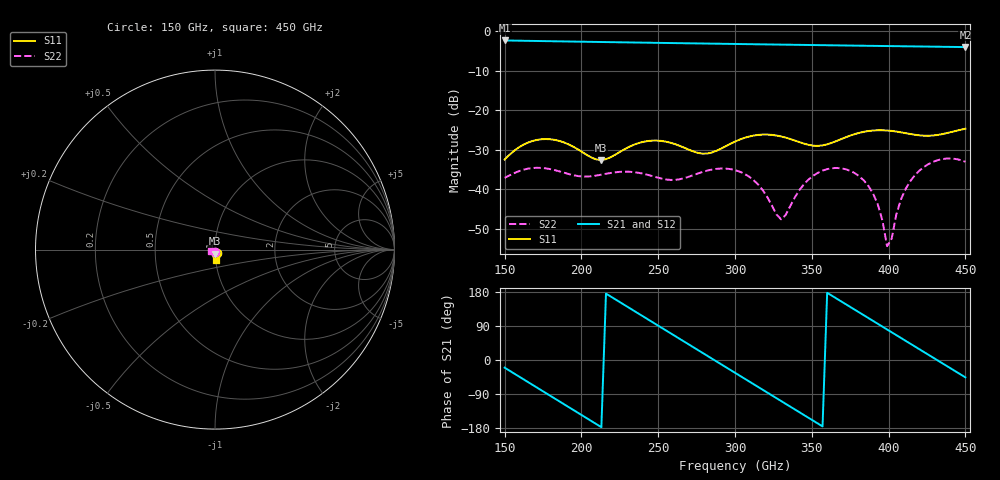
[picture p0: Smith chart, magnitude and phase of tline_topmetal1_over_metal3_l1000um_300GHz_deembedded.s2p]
! Created with skrf 2.0.1 (http://scikit-rf.org).
# GHz S DB R 50.0
!freq dBS11 angS11 dBS21 angS21 dBS12 angS12 dBS22 angS22
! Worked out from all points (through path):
!   101 points, 150 GHz to 450 GHz, reference 50 ohm
!   highest |S21| = -2.29 dB at 150 GHz (marker M1); lowest = -4.0 dB at 450 GHz (marker M2)
!   group delay of S21, straight-line fit = 6.9 ps
!   lowest |S11| = -32.6 dB at 213 GHz (marker M3), VSWR 1.05, Z = 49.9 - j2.35 ohm
!   |S11| at or under -10 dB: start of sweep to end of sweep
!   |S22| runs from -54.4 to -32.2 dB; largest |S21 - S12| = 8.5e-14
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150  -32.45 -63.3  -2.29 -20.2  -2.29 -20.2  -37.08 -79.7
165  -28.18 -71.5  -2.39 -57.6  -2.39 -57.6  -34.77 -82.1
177  -27.26 -87.8  -2.46 -87.6  -2.46 -87.6  -34.70 -92.4
201  -30.67 -107.4  -2.61 -147.4  -2.61 -147.4  -36.75 -95.4
213  -32.57 -90.9  -2.68 -177.3  -2.68 -177.3  -36.28 -92.1
234  -28.73 -78.0  -2.81 130.4  -2.81 130.4  -35.63 -103.4
252  -27.73 -93.9  -2.91 85.6  -2.91 85.6  -37.25 -108.8
264  -28.98 -101.0  -2.98 55.8  -2.98 55.8  -37.44 -102.0
279  -30.96 -90.6  -3.06 18.5  -3.06 18.5  -35.58 -103.9
300  -27.90 -75.0  -3.18 -33.7  -3.18 -33.7  -35.12 -131.8
315  -26.22 -85.3  -3.26 -71.0  -3.26 -71.0  -38.76 -153.8
330  -26.60 -97.1  -3.34 -108.2  -3.34 -108.2  -47.59 -119.1
351  -28.94 -92.4  -3.45 -160.3  -3.45 -160.3  -36.53 -93.0
366  -27.77 -78.5  -3.53 162.4  -3.53 162.4  -34.58 -125.1
381  -25.68 -80.6  -3.61 125.2  -3.61 125.2  -36.71 -162.6
393  -25.03 -88.1  -3.68 95.5  -3.68 95.5  -43.84 159.3
399  -25.09 -91.7  -3.71 80.6  -3.71 80.6  -54.39 100.5
402  -25.20 -93.2  -3.72 73.2  -3.72 73.2  -52.49 14.3
408  -25.55 -95.1  -3.75 58.3  -3.75 58.3  -42.59 -31.5
417  -26.17 -94.6  -3.80 36.0  -3.80 36.0  -36.47 -61.1
432  -26.21 -87.2  -3.87 -1.2  -3.87 -1.2  -32.60 -102.9
450  -24.65 -85.9  -3.97 -45.8  -3.97 -45.8  -33.02 -152.7
